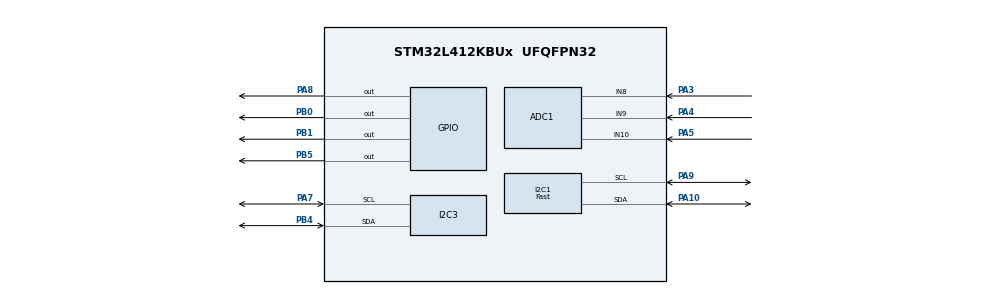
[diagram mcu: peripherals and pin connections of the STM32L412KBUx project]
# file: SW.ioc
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ADC1.Channel-0\#ChannelRegularConversion=ADC_CHANNEL_8
ADC1.Channel-1\#ChannelRegularConversion=ADC_CHANNEL_8
ADC1.Channel-2\#ChannelRegularConversion=ADC_CHANNEL_8
ADC1.ClockPrescaler=ADC_CLOCK_SYNC_PCLK_DIV4
ADC1.ContinuousConvMode=ENABLE
ADC1.NbrOfConversion=3
ADC1.NbrOfConversionFlag=1
ADC1.OffsetNumber-0\#ChannelRegularConversion=ADC_OFFSET_NONE
ADC1.OffsetNumber-1\#ChannelRegularConversion=ADC_OFFSET_NONE
ADC1.OffsetNumber-2\#ChannelRegularConversion=ADC_OFFSET_NONE
ADC1.Rank-0\#ChannelRegularConversion=1
ADC1.Rank-1\#ChannelRegularConversion=2
ADC1.Rank-2\#ChannelRegularConversion=3
ADC1.SamplingTime-0\#ChannelRegularConversion=ADC_SAMPLETIME_12CYCLES_5
ADC1.SamplingTime-1\#ChannelRegularConversion=ADC_SAMPLETIME_12CYCLES_5
ADC1.SamplingTime-2\#ChannelRegularConversion=ADC_SAMPLETIME_12CYCLES_5
ADC1.master=1
I2C1.I2C_Speed_Mode=I2C_Fast
I2C1.Timing=0x00000004
Mcu.Family=STM32L4
Mcu.Name=STM32L412KBUx
Mcu.Package=UFQFPN32
NVIC.PriorityGroup=NVIC_PRIORITYGROUP_4
PA10.Mode=I2C
PA10.Signal=I2C1_SDA
PA3.Signal=ADCx_IN8
PA4.Signal=ADCx_IN9
PA5.Signal=ADCx_IN10
PA7.Mode=I2C
PA7.Signal=I2C3_SCL
PA8.Signal=GPIO_Output
PA9.Mode=I2C
PA9.Signal=I2C1_SCL
PB0.Signal=GPIO_Output
PB1.Signal=GPIO_Output
PB4\ (NJTRST).Mode=I2C
PB4\ (NJTRST).Signal=I2C3_SDA
PB5.Signal=GPIO_Output
PC14-OSC32_IN\ (PC14).Mode=LSE-External-Oscillator
PC14-OSC32_IN\ (PC14).Signal=RCC_OSC32_IN
PC15-OSC32_OUT\ (PC15).Mode=LSE-External-Oscillator
PC15-OSC32_OUT\ (PC15).Signal=RCC_OSC32_OUT
ProjectManager.HeapSize=0x200
ProjectManager.StackSize=0x400
ProjectManager.TargetToolchain=SW4STM32
RCC.ADCFreq_Value=4000000
RCC.HSE_VALUE=8000000
RCC.HSI48_VALUE=48000000
RCC.HSI_VALUE=16000000
RCC.MSI_VALUE=4000000
RCC.USBFreq_Value=4000000
RCC.VCOOutputFreq_Value=32000000
SH.ADCx_IN10.0=ADC1_IN10,IN10-Single-Ended
SH.ADCx_IN8.0=ADC1_IN8,IN8-Single-Ended
SH.ADCx_IN9.0=ADC1_IN9,IN9-Single-Ended
board=custom

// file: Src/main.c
/* USER CODE BEGIN Header */
/**
  ******************************************************************************
  * @file           : main.c
  * @brief          : Main program body
  ******************************************************************************
  * @attention
  *
  * <h2><center>&copy; Copyright (c) 2020 STMicroelectronics.
  * All rights reserved.</center></h2>
  *
  * This software component is licensed by ST under BSD 3-Clause license,
  * the "License"; You may not use this file except in compliance with the
  * License. You may obtain a copy of the License at:
  *                        opensource.org/licenses/BSD-3-Clause
  *
  ******************************************************************************
  */
/* USER CODE END Header */

#include "main.h"
#include "adc.h"
#include "dma.h"
#include "i2c.h"
#include "gpio.h"

/* USER CODE BEGIN Includes */
#include <stdio.h>
#include "ppg.h"
#include "fsm.h"
#include <time.h>
#include <math.h>
#include "ppg.h"

/* USER CODE END Includes */

/* USER CODE BEGIN PD */

//Batería
#define V_REF 3.3  //Valor de referencia de tensión
#define ADC_MAX 4096.0
#define V_BAT_MIN 3.2 //Tensión mínima de la batería para que no se estropee
#define V_BAT_MAX 4.2 //Tensión máxima de la batería
#define batBaja 15.0

//Pulso y  Presión arterial
#define TASA_PPG 800 //Número de muestras por segundo (siendo "muestra" los 3 bytes del conjunto de todos los LEDs)
#define ANCHO_PULSO_PPG 215  //Ancho de pulso para PPG
#define NUM_MUESTRAS_MEDIA_PPG 16 //Número de muestras con que se hace la media para obtener la señal de PPG
#define AMPLI_IR_PPG 0x1f //Amplitud del LED IR
#define MODO_LEDS_PPG 2  //Para decidir cuántos LEDs encender y cuáles de ellos
#define RANGO_ADC_PPG 8192  //Para decidir cuántos bits de resolución tendrá la lectura
#define AMPLI_ROJO_PPG 0x02  //Amplitud del LED rojo
#define AMPLI_VERDE_PPG 0X00   //Amplitud del LED verde
#define POT_LEDS_PPG 0x00 //Potencia de LEDs para PPG

#define RATE_SIZE 20
#define pulsoAlto 100
#define pulsoBajo 60

#define maxBpAlto 140
#define maxBpBajo 90
#define minBpAlto 90
#define minBpBajo 60

//Temperatura
#define DIR_TEMP 0X90
#define tempHipotermia 35
#define tempFiebre 37.2

//Estres
#define estresElevado 3289

//Alcohol
#define alcoholElevado 132.98
#define r0 1017.76

#define A_TRAMO1 10.375  //Primer parámetro de la ecuación del tramo 1 del alcohol
#define B_TRAMO1 87.032  //Segundo parámetro de la ecuación del tramo 1 del alcohol
#define C_TRAMO1 230.55  //Tercer parámetro de la ecuación del tramo 1 del alcohol

//y = -32548x5 + 102490x4 - 119134x3 + 63102x2 - 16426x + 2839,6
#define A_TRAMO2 32548  //Primer parámetro de la ecuación del tramo 2 del alcohol
#define B_TRAMO2 102490  //Segundo parámetro de la ecuación del tramo 2 del alcohol
#define C_TRAMO2 119134  //Tercer parámetro de la ecuación del tramo 2 del alcohol
#define D_TRAMO2 63102  //Cuarto parámetro de la ecuación del tramo 2 del alcohol
#define E_TRAMO2 16426  //Quinto parámetro de la ecuación del tramo 2 del alcohol
#define F_TRAMO2 2839.6  //Sexto parámetro de la ecuación del tramo 2 del alcohol

#define A_TRAMO3 6666.7  //Primer parámetro de la ecuación del tramo 3 del alcohol
#define B_TRAMO3 2666.7  //Segundo parámetro de la ecuación del tramo 3 del alcohol

//Alarma
#define tiempoAlarmaBateria 2000
#define tiempoAlarmaPresion 8000
#define tiempoAlarmaTemperatura 4000
#define tiempoAlarmaEstres 6000
#define tiempoAlarmaAlcohol 3000

/* USER CODE END PD */

/* USER CODE BEGIN PV */

enum fsm_state_medidas{
	bateria,
	pulsoInicio,
	presion,
	alcohol,
	temperatura,
	estres,
	pulso,
};

enum fsm_state_alarma{
	off,
	bateriaAlarma,
	pulsoAlarma,
	presionAlarma,
	alcoholAlarma,
	temperaturaAlarma,
	estresAlarma,
};

uint32_t adc[3];
uint32_t timerMedidas = 0;
uint32_t timerAlarma = 0;

//Bateria
float nivel_bateria;

//Pulso
float pulsosMedia;
uint8_t countRates = 0 ;
int16_t rates[RATE_SIZE]; //Array of heart rates

//Presion
float maxBp;
float minBp;
uint32_t tiemposPPG[3];
float maxBPTiempo[20];
float minBPTiempo[20];
uint32_t ST[20];
uint32_t T1[20];

//Temperatura
float temp ;
uint32_t tiempoInicio =0;

//Estres
uint32_t estresMedido;

//Alcohol
uint16_t alcoholMax = 0;
float nivelAlcohol;

//Alarma
uint8_t avisoBat = 0;
uint8_t avisoPulso = 0;
uint8_t avisoPresion = 0;
uint8_t avisoEstresAlto = 0;
uint8_t avisoTemp = 0;

/* USER CODE END PV */

void SystemClock_Config(void);

int main(void)
{

  /* MCU Configuration--------------------------------------------------------*/

  /* Reset of all peripherals, Initializes the Flash interface and the Systick. */
  HAL_Init();

  /* Configure the system clock */
  SystemClock_Config();

  /* Initialize all configured peripherals */
  MX_GPIO_Init();
  MX_DMA_Init();
  MX_ADC1_Init();
  MX_I2C1_Init();
  MX_I2C3_Init();
  /* USER CODE BEGIN 2 */
  fsm_t* fsm_new_medidas ();
  fsm_t* fsm_new_alarma ();

  void inicializarPPG(uint8_t potenciaLED, uint8_t mediaMuestras, uint8_t modoLEDs, int tasaMuestreo, int anchoPulso, int rangoADC, uint8_t amplitudRojo, uint8_t amplitudIR, uint8_t amplitudVerde);

  //Se activan los dos reguladores
  HAL_GPIO_WritePin(GPIOB, GPIO_PIN_1, GPIO_PIN_SET);
  HAL_GPIO_WritePin(GPIOB, GPIO_PIN_0, GPIO_PIN_SET);

//Calentar sensor alcohol
  HAL_GPIO_WritePin(GPIOB, GPIO_PIN_5, GPIO_PIN_SET);

  inicializarPPG(POT_LEDS_PPG, NUM_MUESTRAS_MEDIA_PPG, MODO_LEDS_PPG, TASA_PPG, ANCHO_PULSO_PPG, RANGO_ADC_PPG, AMPLI_ROJO_PPG, AMPLI_IR_PPG, AMPLI_VERDE_PPG);

  fsm_t* fsm_medidas = fsm_new_medidas();
  fsm_t* fsm_alarma = fsm_new_alarma();

  tiempoInicio = HAL_GetTick();
  HAL_ADC_Start_DMA (&hadc1, adc,3);
	  /* USER CODE END 2 */

  /* Infinite loop */
  /* USER CODE BEGIN WHILE */
  while (1)
  {
	  fsm_fire (fsm_medidas);
	  fsm_fire (fsm_alarma);
    /* USER CODE END WHILE */

  }
}

void SystemClock_Config(void)
{
  RCC_OscInitTypeDef RCC_OscInitStruct = {0};
  RCC_ClkInitTypeDef RCC_ClkInitStruct = {0};
  RCC_PeriphCLKInitTypeDef PeriphClkInit = {0};

  /** Configure LSE Drive Capability
  */
  HAL_PWR_EnableBkUpAccess();
  __HAL_RCC_LSEDRIVE_CONFIG(RCC_LSEDRIVE_LOW);
  /** Configure the main internal regulator output voltage
  */
  if (HAL_PWREx_ControlVoltageScaling(PWR_REGULATOR_VOLTAGE_SCALE1) != HAL_OK)
  {
    Error_Handler();
  }
  /** Initializes the CPU, AHB and APB busses clocks
  */
  RCC_OscInitStruct.OscillatorType = RCC_OSCILLATORTYPE_LSE|RCC_OSCILLATORTYPE_MSI;
  RCC_OscInitStruct.LSEState = RCC_LSE_ON;
  RCC_OscInitStruct.MSIState = RCC_MSI_ON;
  RCC_OscInitStruct.MSICalibrationValue = 0;
  RCC_OscInitStruct.MSIClockRange = RCC_MSIRANGE_6;
  RCC_OscInitStruct.PLL.PLLState = RCC_PLL_NONE;
  if (HAL_RCC_OscConfig(&RCC_OscInitStruct) != HAL_OK)
  {
    Error_Handler();
  }
  /** Initializes the CPU, AHB and APB busses clocks
  */
  RCC_ClkInitStruct.ClockType = RCC_CLOCKTYPE_HCLK|RCC_CLOCKTYPE_SYSCLK
                              |RCC_CLOCKTYPE_PCLK1|RCC_CLOCKTYPE_PCLK2;
  RCC_ClkInitStruct.SYSCLKSource = RCC_SYSCLKSOURCE_MSI;
  RCC_ClkInitStruct.AHBCLKDivider = RCC_SYSCLK_DIV1;
  RCC_ClkInitStruct.APB1CLKDivider = RCC_HCLK_DIV1;
  RCC_ClkInitStruct.APB2CLKDivider = RCC_HCLK_DIV1;

  if (HAL_RCC_ClockConfig(&RCC_ClkInitStruct, FLASH_LATENCY_0) != HAL_OK)
  {
    Error_Handler();
  }
  PeriphClkInit.PeriphClockSelection = RCC_PERIPHCLK_I2C1|RCC_PERIPHCLK_I2C3
                              |RCC_PERIPHCLK_ADC;
  PeriphClkInit.I2c1ClockSelection = RCC_I2C1CLKSOURCE_PCLK1;
  PeriphClkInit.I2c3ClockSelection = RCC_I2C3CLKSOURCE_PCLK1;
  if (HAL_RCCEx_PeriphCLKConfig(&PeriphClkInit) != HAL_OK)
  {
    Error_Handler();
  }
  /** Enable MSI Auto calibration
  */
  HAL_RCCEx_EnableMSIPLLMode();
}

/* USER CODE BEGIN 4 */

void inicializarPPG(uint8_t potenciaLED, uint8_t mediaMuestras, uint8_t modoLEDs, int tasaMuestreo, int anchoPulso, int rangoADC, uint8_t amplitudRojo, uint8_t amplitudIR, uint8_t amplitudVerde){
	MAX30101_setupPPG(potenciaLED, mediaMuestras, modoLEDs, tasaMuestreo, anchoPulso, rangoADC);  //3 LEDs a 0x0C de potencia, 400 samples/second, 411 de ancho de pulso y 18 bits. Se bajó la potencia para adaptarlo a pieles claras
	MAX30101_setPulseAmplitudeRed(amplitudRojo); //Turn Red LED to low to indicate sensor is running
	MAX30101_setPulseAmplitudeIR(amplitudIR); //Turn off IR LED
	MAX30101_setPulseAmplitudeGreen(amplitudVerde); //Turn off Green LED
	MAX30101_enableDIETEMPRDY();
}

//Funciones de comprobación Medidas de parámetros

static int tiempoNoIniciado (fsm_t* this) {
	uint8_t ret= 0;
	if(timerMedidas == 0){
		ret = 1;
	}
	return ret;
}

static int tiempoIniciado (fsm_t* this) {
	uint8_t ret= 0;
	if(timerMedidas != 0){
		ret = 1;
	}
	return ret;
}

static int timpoNoAcabado (fsm_t* this) {
	uint8_t ret= 0;
	if(timerMedidas > HAL_GetTick()){
		ret = 1;
	}
	return ret;
}

static int finTiempo (fsm_t* this) {
	uint8_t ret= 0;
	if(timerMedidas <= HAL_GetTick()){
		ret = 1;
	}
	return ret;
}

static int siguienteEstado (fsm_t* this) {
	uint8_t ret= 1;
	return ret;
}

//Funciones de transición

void calculoBateria(fsm_t* this){
	float tension_bat = 0.0;
	tension_bat = 2*(((float)adc[0])/ADC_MAX)*V_REF;  //Porque los ADCs son de 12 bits (4096) que marcan los 3,3V (Vcc del micro, la referencia) y 2 porque el divisor hace que midas la mitad de la tensión Vin_bat
	nivel_bateria = (((tension_bat - V_BAT_MIN)/(V_BAT_MAX - V_BAT_MIN))*100);
	timerMedidas = timerMedidas +30000;
}

void medirPulso(fsm_t* this){
	static uint32_t lastBeat; //Time at which the last beat occurred
	float beatsPerMinute;
	uint32_t irValue;
	irValue = MAX30101_getIR();  //Provoca una nueva recogida de datos de todos los LEDs que se hayan configurado como encendidos. El IR es el que mejor coge el pulso

	if( irValue != 0){
		if ( MAX30101_checkForBeat(irValue) == 1){
			//We sensed a beat!
			int delta = HAL_GetTick() - lastBeat;
			lastBeat = HAL_GetTick();
			beatsPerMinute = 60 / (delta / 1000.0);
			if((beatsPerMinute < 255) &( beatsPerMinute > 40 )& (countRates< 20)){
			  rates[countRates] = (uint8_t)beatsPerMinute; //Store this reading in the array
			  countRates ++;
			}
		}
	}
}

void calculoPulsoInicio(fsm_t* this){
	for (int i = 2;i<countRates;i++){
		pulsosMedia = pulsosMedia + rates[i];
	}
	pulsosMedia = pulsosMedia/(countRates-2);
	countRates = 0;
	timerMedidas = timerMedidas + 30000;
}

void calculoPulso(fsm_t* this){
	float pulsaciones = 0;
	for (int i = 2;i<countRates;i++){
		pulsaciones = pulsaciones + rates[i];
	}
	pulsaciones = pulsaciones/(countRates-2);
	float desviacionMedia = 0.0;
	for ( int i = 2; i<countRates; i++){
		desviacionMedia = desviacionMedia + fabs( rates[i] - pulsaciones);
	}
	desviacionMedia = desviacionMedia / (countRates -2);
	if ( desviacionMedia <= 15.0){
		pulsosMedia = pulsaciones;
	}
	else{
		pulsosMedia = 0;
	}
}

void medirPresion(fsm_t* this){
	int32_t irValue;
	static uint8_t p;
	for(uint8_t t =0;t< 100;t++ ){
		HAL_Delay(10);
		irValue = MAX30101_getIR();  //Provoca una nueva recogida de datos de todos los LEDs que se hayan configurado como encendidos. El IR es el que mejor coge el pulso
		if( irValue != 0){
			if ( MAX30101_checkForBP(irValue, tiemposPPG) == 1){
				//We sensed a beat!
				ST[p]= tiemposPPG[1]-tiemposPPG[0];
				T1[p] = tiemposPPG[2] -tiemposPPG[1];
				maxBPTiempo[p] = 12.84 +0.78*((float)T1[p])/5 + 2.296*((float)ST[p])/5 ;
				minBPTiempo[p] = -5 +1.224*(float)T1[p]/5 + 0.534* (float)ST[p]/5 ;
				if(((maxBPTiempo[p]>70.0 ) )&(minBPTiempo[p]> 40.0)){
					p++;
				}
			}
		}
	}
}

void calculoPresion(fsm_t* this){
	for(uint i = 0;i<8;i++){
		HAL_GPIO_TogglePin(GPIOA,  GPIO_PIN_8);
		HAL_Delay(100);
	}
	HAL_GPIO_WritePin(GPIOA, GPIO_PIN_8, GPIO_PIN_RESET);
	float maxBpMedia = 0.0;
	float minBpMedia = 0.0;
	uint8_t i = 0;
	while(minBPTiempo[i]!=0){
		maxBpMedia= maxBpMedia + maxBPTiempo[i];
		minBpMedia = minBpMedia + minBPTiempo[i];
		i++;
	}
	maxBpMedia = maxBpMedia/ i;
	minBpMedia = minBpMedia / i;
	float desviacionMaxBpMedia = 0.0;
	float desviacionMinBpMedia = 0.0;
	i =0;
	while(minBPTiempo[i]!=0){
		desviacionMaxBpMedia = desviacionMaxBpMedia + fabs( maxBPTiempo[i] - maxBpMedia);
		desviacionMinBpMedia = desviacionMinBpMedia + fabs( minBPTiempo[i] - minBpMedia);
		i++;
	}
	desviacionMaxBpMedia = desviacionMaxBpMedia/i;
	desviacionMinBpMedia = desviacionMinBpMedia/i;
	i=0;
	uint8_t bpCountMax = 0;
	uint8_t bpCountMin = 0;
	while(minBPTiempo[i]!=0){
		if((maxBPTiempo[i] <=(maxBpMedia + desviacionMaxBpMedia )) & (maxBPTiempo[i] >=(maxBpMedia - desviacionMaxBpMedia))){
			maxBp = maxBp + maxBPTiempo[i];
			bpCountMax ++;
		}
		if((minBPTiempo[i] <=(minBpMedia + desviacionMinBpMedia )) & (minBPTiempo[i] >=(minBpMedia - desviacionMinBpMedia))){
			minBp = minBp + minBPTiempo[i];
			bpCountMin ++;
		}
		i++;
	}
	maxBp = maxBp / bpCountMax;
	minBp = minBp /bpCountMin;
	timerMedidas = timerMedidas + 30000;
}

void medirAlcohol(fsm_t* this){
	HAL_ADC_Start_DMA (&hadc1, adc,3);
	uint16_t alcohol;
	alcohol = adc[1];
	if(alcohol>alcoholMax){
		alcoholMax = alcohol;
	}
}

void calculoAlcohol(fsm_t* this){
	HAL_GPIO_WritePin(GPIOB, GPIO_PIN_5, GPIO_PIN_RESET);
	float vrl = ((float)alcoholMax *3.3)/4096;
	float rs = ((5-vrl)/vrl)* 2026.04;
	float relacion_r = (rs/r0);
	if((relacion_r < 4) & (relacion_r > 1.1)){  //Tramo 1
			//Ecuación de la curva del tramo 1: y = 10.375x2 - 87.032x + 230.55;
		nivelAlcohol = (float)(A_TRAMO1*pow(relacion_r, 2) - B_TRAMO1*relacion_r + C_TRAMO1);

		}else if((relacion_r <= 1.1) & (relacion_r >= 0.2)){  //Tramo 2
			//Ecuación de la curva del tramo 2: y = 163204*x6 - 688610x5 + 1E+06x4 - 983296x3 + 441823x2 - 100218x + 10120;
			//ppm = (float)(A_TRAMO2*pow(relacion_r, 6) - B_TRAMO2*pow(relacion_r, 5) + C_TRAMO2*pow(relacion_r, 4) - D_TRAMO2*pow(relacion_r, 3) + E_TRAMO2*pow(relacion_r, 2) - F_TRAMO2*relacion_r + G_TRAMO2);
			//Ecuación de la curva del tramo 2: y = -32548x5 + 102490x4 - 119134x3 + 63102x2 - 16426x + 2839,6
			nivelAlcohol = (float)((-A_TRAMO2)*pow(relacion_r, 5) + B_TRAMO2*pow(relacion_r, 4) - C_TRAMO2*pow(relacion_r, 3) + D_TRAMO2*pow(relacion_r, 2) - E_TRAMO2*relacion_r + F_TRAMO2);
		}
		else if(relacion_r < 0.2){  //Tramo 3
			//Ecuación de la curva del tramo 3: y = -6666.7x + 2666.7;
			nivelAlcohol = (float)(-A_TRAMO3*relacion_r + B_TRAMO3);
		}else if(relacion_r > 4){
			nivelAlcohol = 0.0;
		}
}

void calculoTemp(fsm_t* this){
	if((HAL_GetTick()- tiempoInicio) > 54000){
		uint8_t bufferTemp[2];  //Buffer de datos a enviar y leer por I2C
		bufferTemp[0] = 0x01; //Dirección de registro de configuración
		bufferTemp[1] = 0x00; //Contenido a enviar al registro de configuración

		if(HAL_I2C_IsDeviceReady(&hi2c3, DIR_TEMP, 2, 10) == HAL_OK){
			HAL_I2C_Master_Transmit(&hi2c3, DIR_TEMP, bufferTemp, 2, 10);
		}

		bufferTemp[0] = 0x00; //Dirección de registro de temperatura
		HAL_I2C_Master_Transmit(&hi2c3, DIR_TEMP, bufferTemp, 1, 10);
		HAL_I2C_Master_Receive(&hi2c3, DIR_TEMP, bufferTemp, 2, 10);  //Sobreescribe lo que hay en el array porque ya no se necesita y mete los datos leidos ahí
		temp = (float)bufferTemp[0] + ((float)bufferTemp[1])*0.996/255;
	}
}

void calculoEstres(fsm_t* this){
	HAL_ADC_Start_DMA (&hadc1, adc,3);
	estresMedido = adc[2];
	timerMedidas = timerMedidas +10000;
}

fsm_t* fsm_new_medidas ()
{
	static fsm_trans_t tt[] = {
		{ bateria,tiempoNoIniciado,pulsoInicio,calculoBateria},
		{ bateria,tiempoIniciado,temperatura,calculoBateria },
		{ pulsoInicio,timpoNoAcabado,pulsoInicio,medirPulso },
		{ pulsoInicio,finTiempo,presion,calculoPulsoInicio },
		{ presion,timpoNoAcabado,presion,medirPresion },
		{ presion,finTiempo,alcohol,calculoPresion },
		{ alcohol,timpoNoAcabado,alcohol,medirAlcohol },
		{ alcohol,finTiempo,temperatura,calculoAlcohol},
		{ temperatura,siguienteEstado,estres,calculoTemp },
		{ estres,siguienteEstado,pulso,calculoEstres },
		{ pulso,timpoNoAcabado,pulso,medirPulso },
		{ pulso,finTiempo,bateria,calculoPulso },
		{ -1, NULL, -1, NULL },
	};
	return fsm_new (tt);
}

//Funciones de comprobación Alarma

static int timpoNoAcabadoAlarma (fsm_t* this) {
	uint8_t ret= 0;
	if(timerAlarma > HAL_GetTick()){
		ret = 1;
	}
	return ret;
}

static int finTiempoAlarma (fsm_t* this) {
	uint8_t ret= 0;
	if(timerAlarma <= HAL_GetTick()){
		ret = 1;
	}
	return ret;
}

static int bateriaBaja (fsm_t* this) {
	uint8_t ret= 0;
	if(((nivel_bateria <= batBaja) & (nivel_bateria >0)) & (avisoBat == 0)){
		ret = 1;
	}
	return ret;
}

static int presionAnomala (fsm_t* this) {
	uint8_t ret= 0;
	if((((maxBp <= maxBpBajo )& ( maxBp>0))||(maxBp >= maxBpAlto) || ((minBp <= minBpBajo) & (minBp>0))||(minBp >= minBpAlto)) & (avisoPresion == 0) ){
		ret = 1;
	}
	return ret;
}

static int temperaturaAnomala (fsm_t* this) {
	uint8_t ret= 0;
	if((((temp <= tempHipotermia) &( temp>0)) ||(temp >= tempFiebre)) & ( avisoTemp== 0)){
		ret = 1;
	}
	return ret;
}

static int pulsoAnomalo (fsm_t* this) {
	uint8_t ret= 0;
	if((((pulsosMedia <= pulsoBajo) &( pulsosMedia>0) )||pulsosMedia >= pulsoAlto)& (avisoPulso == 0) ){
		ret = 1;
	}
	return ret;
}

static int estresAlto (fsm_t* this) {
	uint8_t ret= 0;
	if((estresMedido <= estresElevado) & (avisoEstresAlto == 0) & (estresMedido >0)){
		ret = 1;
	}
	return ret;
}

static int alcoholAlto (fsm_t* this) {
	uint8_t ret= 0;
	if(nivelAlcohol >= alcoholElevado){
		ret = 1;
	}
	return ret;
}

//Funciones de transición Alarma

void inicioTimerBateria(fsm_t* this){
	timerAlarma = HAL_GetTick() + tiempoAlarmaBateria;
	avisoBat = 1;
}

void inicioTimerPresion(fsm_t* this){
	timerAlarma = HAL_GetTick() + tiempoAlarmaPresion;
	avisoPresion = 1;
}

void inicioTimerTemperatura(fsm_t* this){
	timerAlarma = HAL_GetTick() + tiempoAlarmaTemperatura;
	avisoTemp = 1;
}

void inicioTimerEstres(fsm_t* this){
	timerAlarma = HAL_GetTick() + tiempoAlarmaEstres;
	avisoEstresAlto = 1;
}

void inicioTimerAlcohol(fsm_t* this){
	timerAlarma= HAL_GetTick() + tiempoAlarmaAlcohol;
}

void aviso(fsm_t* this){
	HAL_GPIO_TogglePin(GPIOA,  GPIO_PIN_8);
}

void avisoPulsaciones(fsm_t* this){
	for(uint8_t i= 0; i< 25; i++){
		HAL_GPIO_TogglePin(GPIOA,  GPIO_PIN_8);
		HAL_Delay(10);
	}
	HAL_GPIO_WritePin(GPIOA, GPIO_PIN_8, GPIO_PIN_RESET); //Para asegurar que no se quede vibrando
	avisoPulso = 1;
}

void alarmaFin(fsm_t* this){
	HAL_GPIO_WritePin(GPIOA, GPIO_PIN_8, GPIO_PIN_RESET); //Para asegurar que no se quede vibrando
}

fsm_t* fsm_new_alarma ()
{
	static fsm_trans_t tt[] = {
		{ off,bateriaBaja,bateriaAlarma,inicioTimerBateria},
		{ bateriaAlarma,timpoNoAcabadoAlarma,bateriaAlarma,aviso },
		{ bateriaAlarma,finTiempoAlarma,off,alarmaFin},
		{ off,pulsoAnomalo,pulsoAlarma,avisoPulsaciones},
		{ pulsoAlarma,timpoNoAcabadoAlarma,pulsoAlarma,aviso},
		{ pulsoAlarma,finTiempoAlarma,off,alarmaFin},
		{ off,presionAnomala,presionAlarma,inicioTimerPresion },
		{ presionAlarma,timpoNoAcabadoAlarma,presionAlarma,aviso },
		{ presionAlarma,finTiempoAlarma,off,alarmaFin },
		{ off,temperaturaAnomala,temperaturaAlarma,inicioTimerTemperatura },
		{ temperaturaAlarma,timpoNoAcabadoAlarma,temperaturaAlarma,aviso},
		{ temperaturaAlarma,finTiempoAlarma,off,alarmaFin },
		{ off,estresAlto,estresAlarma,inicioTimerEstres },
		{ estresAlarma,timpoNoAcabadoAlarma,estresAlarma,aviso },
		{ estresAlarma,finTiempoAlarma,off,alarmaFin },
		{ off,alcoholAlto,alcoholAlarma,inicioTimerAlcohol },
		{ alcoholAlarma,timpoNoAcabadoAlarma,estresAlarma,aviso },
		{ alcoholAlarma,finTiempoAlarma,off,alarmaFin },
		{ -1, NULL, -1, NULL },
	};
	return fsm_new (tt);
}

/* USER CODE END 4 */

void Error_Handler(void)
{
}

/************************ (C) COPYRIGHT STMicroelectronics *****END OF FILE****/
